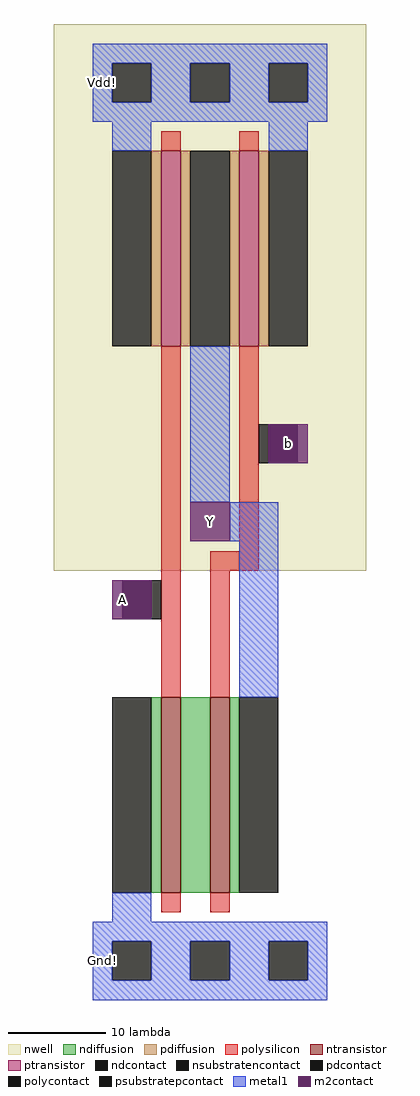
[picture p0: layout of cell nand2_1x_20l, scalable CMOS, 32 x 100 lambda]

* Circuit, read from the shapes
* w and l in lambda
.subckt nand2_1x_20l A Gnd! Vdd! Y b
M1 n1 A Gnd! Gnd! nfet w=20 l=2
M2 Y b n1 Gnd! nfet w=20 l=2
M3 Y A Vdd! Vdd! pfet w=20 l=2
M4 Vdd! b Y Vdd! pfet w=20 l=2
.ends

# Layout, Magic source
magic
tech scmos
<< nwell >>
rect -6 40 26 96
<< ntransistor >>
rect 5 7 7 27
rect 10 7 12 27
<< ptransistor >>
rect 5 63 7 83
rect 13 63 15 83
<< ndiffusion >>
rect 4 7 5 27
rect 7 7 10 27
rect 12 7 13 27
<< pdiffusion >>
rect 4 63 5 83
rect 7 63 8 83
rect 12 63 13 83
rect 15 63 16 83
<< ndcontact >>
rect 0 7 4 27
rect 13 7 17 27
<< pdcontact >>
rect 0 63 4 83
rect 8 63 12 83
rect 16 63 20 83
<< psubstratepcontact >>
rect 0 -2 4 2
rect 8 -2 12 2
rect 16 -2 20 2
<< nsubstratencontact >>
rect 0 88 4 92
rect 8 88 12 92
rect 16 88 20 92
<< polysilicon >>
rect 5 83 7 85
rect 13 83 15 85
rect 5 27 7 63
rect 13 42 15 63
rect 10 40 15 42
rect 10 27 12 40
rect 5 5 7 7
rect 10 5 12 7
<< polycontact >>
rect 1 35 5 39
rect 15 51 19 55
<< metal1 >>
rect -2 92 22 94
rect -2 88 0 92
rect 4 88 8 92
rect 12 88 16 92
rect 20 88 22 92
rect -2 86 22 88
rect 0 83 4 86
rect 16 83 20 86
rect 8 47 12 63
rect 12 43 17 47
rect 13 27 17 43
rect 0 4 4 7
rect -2 2 22 4
rect -2 -2 0 2
rect 4 -2 8 2
rect 12 -2 16 2
rect 20 -2 22 2
rect -2 -4 22 -2
<< m2contact >>
rect 16 51 19 55
rect 19 51 20 55
rect 8 43 12 47
rect 0 35 1 39
rect 1 35 4 39
<< labels >>
rlabel m2contact 1 37 1 37 1 A
rlabel m2contact 10 45 10 45 1 Y
rlabel m2contact 18 53 18 53 1 b
rlabel metal1 -1 90 -1 90 3 Vdd!
rlabel metal1 -1 0 -1 0 3 Gnd!
<< end >>
